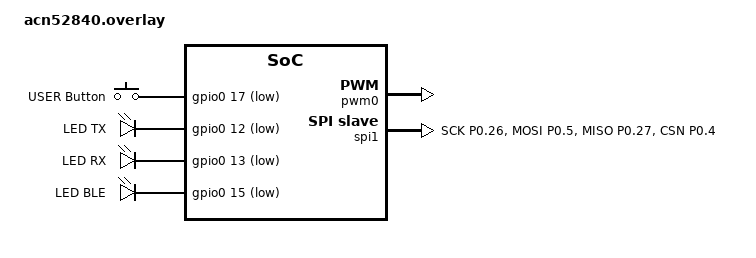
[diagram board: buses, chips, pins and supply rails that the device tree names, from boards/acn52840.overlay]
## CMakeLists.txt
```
# SPDX-License-Identifier: Apache-2.0

cmake_minimum_required(VERSION 3.20.0)

set(BOARD_ROOT ${CMAKE_CURRENT_SOURCE_DIR}/.)

find_package(Zephyr REQUIRED HINTS $ENV{ZEPHYR_BASE})
project(zephyr-ble-hci-coprocessor)

FILE(GLOB app_sources src/*.c)
target_sources(app PRIVATE ${app_sources})

zephyr_library_include_directories(${ZEPHYR_BASE}/samples/bluetooth)
```

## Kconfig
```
#
# Copyright (c) 2022 Lucas Dietrich <ld.adecy@gmail.com>
#
# SPDX-License-Identifier: Apache-2.0
#

config APP_GPIO_3V3
	bool "GPIO 3V3"
	default y
    depends on SOC_FAMILY_NRF
	help
        Set GPIO voltage to 3.3V

source "Kconfig.zephyr"
```

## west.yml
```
# Copyright (c) 2020 Lucas Dietrich (ld.adecy@gmail.com)
# SPDX-License-Identifier: Apache-2.0

manifest:
  self:
    path: zephyr-ble-hci-coprocessor

  remotes:
    - name: zephyrproject-rtos
      url-base: https://github.com/zephyrproject-rtos
    - name: zephyrproject-rtos-fork
      url-base: https://github.com/lucasdietrich
      
  projects:
    - name: zephyr
      remote: zephyrproject-rtos
      revision: v3.4.0
      import: true
      
```

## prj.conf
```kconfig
CONFIG_GPIO=y
CONFIG_SPI=y
CONFIG_SPI_SLAVE=y
CONFIG_MAIN_STACK_SIZE=4096
CONFIG_BT=y
CONFIG_BT_HCI_RAW=y
CONFIG_BT_MAX_CONN=16
CONFIG_BT_TINYCRYPT_ECC=n
CONFIG_BT_BUF_ACL_RX_COUNT=32
CONFIG_BT_BUF_ACL_RX_SIZE=251
CONFIG_BT_HCI_RAW_RESERVE=1

# Workaround: Unable to allocate command buffer when using K_NO_WAIT since
# Host number of completed commands does not follow normal flow control.
CONFIG_BT_BUF_CMD_TX_COUNT=10

CONFIG_APP_GPIO_3V3=y

CONFIG_LOG=y

CONFIG_USE_SEGGER_RTT=y
CONFIG_LOG_BACKEND_RTT=y
CONFIG_SEGGER_RTT_BUFFER_SIZE_UP=4096
CONFIG_LOG_BACKEND_SHOW_COLOR=y

CONFIG_BT_DEBUG_LOG=n
CONFIG_BT_DEBUG_HCI_DRIVER=n
```

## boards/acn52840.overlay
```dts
/ {
	aliases {
		ble-led = &pwm_led2;
		ipc-rx-led = &pwm_led1;
		ipc-tx-led = &pwm_led0;
		user-button = &button0;

		counter = &timer3;

		/* if prefer rtc2 */
		counter-alt = &rtc2;
	};

	buttons {
		compatible = "gpio-keys";
		button0: button {
			gpios = <&gpio0 17 (GPIO_PULL_UP | GPIO_ACTIVE_LOW)>;
			label = "USER Button";
		};
	};

	leds {
		led0 {
			gpios = <&gpio0 12 GPIO_ACTIVE_LOW>;
			label = "LED TX";
		};
		led1 {
			gpios = <&gpio0 13 GPIO_ACTIVE_LOW>;
			label = "LED RX";
		};
		led2 {
			gpios = <&gpio0 15 GPIO_ACTIVE_LOW>;
			label = "LED BLE";
		};
	};


    pwmleds {
        pwm_led0: pwm_led_tx {
            pwms = <&pwm0 12>;
        };
        pwm_led1: pwm_led_rx {
            pwms = <&pwm0 13>;
        };
        pwm_led2: pwm_led_ble {
            pwms = <&pwm0 15>;
        };
    };
};

&pwm0 {
    status = "okay";

    ch0-pin = <12>;
    ch0-inverted;

    ch1-pin = <13>;
    ch1-inverted;

    ch2-pin = <15>;
    ch2-inverted;
};

&pinctrl {
	spi1_default_alt: spi1_default_alt {
		group1 {
			psels = <NRF_PSEL(SPIS_SCK, 0, 26)>,
			        <NRF_PSEL(SPIS_MOSI, 0, 5)>,
			        <NRF_PSEL(SPIS_MISO, 0, 27)>,
			        <NRF_PSEL(SPIS_CSN, 0, 4)>;
		};
	};
};

&spi1 {
	compatible = "nordic,nrf-spis";
	status = "okay";
	def-char = <0x00>;
	pinctrl-0 = <&spi1_default_alt>;
	/delete-property/ pinctrl-1;
	pinctrl-names = "default";

	bt-hci@0 {
		compatible = "zephyr,bt-hci-spi-slave";
		reg = <0>;
		irq-gpios = <&gpio0 30 (GPIO_ACTIVE_HIGH | GPIO_PULL_DOWN)>;
	};
};

&uart1 {
	status = "disabled";
};
```

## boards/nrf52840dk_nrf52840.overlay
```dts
/*
 * Copyright (c) 2020 Nordic Semiconductor ASA
 *
 * SPDX-License-Identifier: Apache-2.0
 */

&pinctrl {
	spi1_default_alt: spi1_default_alt {
		group1 {
			psels = <NRF_PSEL(SPIS_SCK, 0, 26)>,
			        <NRF_PSEL(SPIS_MOSI, 0, 5)>,
			        <NRF_PSEL(SPIS_MISO, 0, 27)>,
			        <NRF_PSEL(SPIS_CSN, 0, 4)>;
		};
	};
};

&spi1 {
	compatible = "nordic,nrf-spis";
	status = "okay";
	def-char = <0x00>;
	pinctrl-0 = <&spi1_default_alt>;
	/delete-property/ pinctrl-1;
	pinctrl-names = "default";
	// csn-pin = <&gpio0 3 GPIO_ACTIVE_LOW>;

	bt-hci@0 {
		compatible = "zephyr,bt-hci-spi-slave";
		reg = <0>;
		irq-gpios = <&gpio0 30 (GPIO_ACTIVE_HIGH | GPIO_PULL_DOWN)>;
	};
};

&uart1 {
	status = "disabled";
};
```

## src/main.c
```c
/*
 * Copyright (c) 2017 Linaro Limited
 * Copyright (c) 2016 Nordic Semiconductor ASA
 * Copyright (c) 2015-2016 Intel Corporation
 * Copyright (c) 2022 Lucas Dietrich (ld.adecy@gmail.com)
 *
 * SPDX-License-Identifier: Apache-2.0
 */

#include <errno.h>
#include <stddef.h>
#include <stdio.h>

#include <zephyr/kernel.h>
#include <zephyr/sys/byteorder.h>
#include <zephyr/logging/log.h>
#include <zephyr/debug/stack.h>

#include <zephyr/device.h>
#include <zephyr/init.h>
#include <zephyr/drivers/gpio.h>
#include <zephyr/drivers/spi.h>

#include <zephyr/net/buf.h>
#include <zephyr/bluetooth/bluetooth.h>
#include <zephyr/bluetooth/l2cap.h>
#include <zephyr/bluetooth/hci.h>
#include <zephyr/bluetooth/buf.h>
#include <zephyr/bluetooth/hci_raw.h>

#if defined(CONFIG_APP_GPIO_3V3)
#include <hal/nrf_power.h>
#endif /* CONFIG_APP_GPIO_3V3 */

#define LOG_MODULE_NAME hci_spi
LOG_MODULE_REGISTER(LOG_MODULE_NAME, LOG_LEVEL_DBG);

#define HCI_CMD                0x01
#define HCI_ACL                0x02
#define HCI_SCO                0x03
#define HCI_EVT                0x04

/* Special Values */
#define SPI_WRITE              0x0A
#define SPI_READ               0x0B
#define READY_NOW              0x02
#define SANITY_CHECK           0x02

/* Offsets */
#define STATUS_HEADER_READY    0
#define STATUS_HEADER_TOREAD   3

#define PACKET_TYPE            0
#define EVT_BLUE_INITIALIZED   0x01

/* Needs to be aligned with the SPI master buffer size */
#define SPI_MAX_MSG_LEN        255

static uint8_t rxmsg[SPI_MAX_MSG_LEN];
static struct spi_buf rx;
const static struct spi_buf_set rx_bufs = {
	.buffers = &rx,
	.count = 1,
};

static uint8_t txmsg[SPI_MAX_MSG_LEN];
static struct spi_buf tx;
const static struct spi_buf_set tx_bufs = {
	.buffers = &tx,
	.count = 1,
};

/* HCI buffer pools */
#define CMD_BUF_SIZE BT_BUF_RX_SIZE

/*
 * This finds an arbitrary node with compatible
 * "zephyr,bt-hci-spi-slave". There should just be one in the
 * devicetree.
 *
 * If for some reason you have more than one of these in your
 * devicetree, replace this macro definition to pick one, e.g. using
 * DT_NODELABEL().
 */
#define HCI_SPI_NODE           DT_COMPAT_GET_ANY_STATUS_OKAY(zephyr_bt_hci_spi_slave)

/*
 * This is the SPI bus controller device used to exchange data with
 * the SPI-based BT controller.
 */
static const struct device *const spi_hci_dev = DEVICE_DT_GET(DT_BUS(HCI_SPI_NODE));
static struct spi_config spi_cfg = {
	.operation = SPI_WORD_SET(8) | SPI_OP_MODE_SLAVE,
};

/*
 * The GPIO used to send interrupts to the host,
 * configured in the 'irq-gpios' property in HCI_SPI_NODE.
 */
static const struct gpio_dt_spec irq = GPIO_DT_SPEC_GET(HCI_SPI_NODE, irq_gpios);

static K_THREAD_STACK_DEFINE(bt_tx_thread_stack, CONFIG_BT_HCI_TX_STACK_SIZE);
static struct k_thread bt_tx_thread_data;

static K_SEM_DEFINE(sem_spi_rx, 0, 1);
static K_SEM_DEFINE(sem_spi_tx, 0, 1);

static inline int spi_send(struct net_buf *buf)
{
	uint8_t header_master[5] = { 0 };
	uint8_t header_slave[5] = { READY_NOW, SANITY_CHECK,
				    0x00, 0x00, 0x00 };
	int ret;

	LOG_DBG("buf %p type %u len %u", buf, bt_buf_get_type(buf), buf->len);

	switch (bt_buf_get_type(buf)) {
	case BT_BUF_ACL_IN:
		net_buf_push_u8(buf, HCI_ACL);
		break;
	case BT_BUF_EVT:
		net_buf_push_u8(buf, HCI_EVT);
		break;
	default:
		LOG_ERR("Unknown type %u", bt_buf_get_type(buf));
		net_buf_unref(buf);
		return -EINVAL;
	}

	if (buf->len > SPI_MAX_MSG_LEN) {
		LOG_ERR("TX message too long");
		net_buf_unref(buf);
		return -EINVAL;
	}
	header_slave[STATUS_HEADER_TOREAD] = buf->len;

	gpio_pin_set(irq.port, irq.pin, 1);

	/* Coordinate transfer lock with the spi rx thread */
	k_sem_take(&sem_spi_tx, K_FOREVER);

	tx.buf = header_slave;
	tx.len = 5;
	rx.buf = header_master;
	rx.len = 5;
	do {
		ret = spi_transceive(spi_hci_dev, &spi_cfg, &tx_bufs, &rx_bufs);
		if (ret < 0) {
			LOG_ERR("SPI transceive error: %d", ret);
		}
	} while (header_master[STATUS_HEADER_READY] != SPI_READ);

	tx.buf = buf->data;
	tx.len = buf->len;

	ret = spi_write(spi_hci_dev, &spi_cfg, &tx_bufs);
	if (ret < 0) {
		LOG_ERR("SPI transceive error: %d", ret);
	}
	net_buf_unref(buf);

	gpio_pin_set(irq.port, irq.pin, 0);
	k_sem_give(&sem_spi_rx);

	return 0;
}

static void bt_tx_thread(void *p1, void *p2, void *p3)
{
	uint8_t header_master[5];
	uint8_t header_slave[5] = { READY_NOW, SANITY_CHECK,
				    0x00, 0x00, 0x00 };
	struct net_buf *buf = NULL;

	union {
		struct bt_hci_cmd_hdr *cmd_hdr;
		struct bt_hci_acl_hdr *acl_hdr;
	} hci_hdr;
	hci_hdr.cmd_hdr = (struct bt_hci_cmd_hdr *)&rxmsg[1];
	int ret;

	ARG_UNUSED(p1);
	ARG_UNUSED(p2);
	ARG_UNUSED(p3);

	(void)memset(txmsg, 0xFF, SPI_MAX_MSG_LEN);

	while (1) {
		tx.buf = header_slave;
		tx.len = 5;
		rx.buf = header_master;
		rx.len = 5;

		do {
			ret = spi_transceive(spi_hci_dev, &spi_cfg,
					     &tx_bufs, &rx_bufs);
			if (ret < 0) {
				LOG_ERR("SPI transceive error: %d", ret);
			}
		} while ((header_master[STATUS_HEADER_READY] != SPI_READ) &&
			 (header_master[STATUS_HEADER_READY] != SPI_WRITE));

		if (header_master[STATUS_HEADER_READY] == SPI_READ) {
			/* Unblock the spi tx thread and wait for it */
			k_sem_give(&sem_spi_tx);
			k_sem_take(&sem_spi_rx, K_FOREVER);
			continue;
		}

		tx.buf = txmsg;
		tx.len = SPI_MAX_MSG_LEN;
		rx.buf = rxmsg;
		rx.len = SPI_MAX_MSG_LEN;

		/* Receiving data from the SPI Host */
		ret = spi_transceive(spi_hci_dev, &spi_cfg,
				     &tx_bufs, &rx_bufs);
		if (ret < 0) {
			LOG_ERR("SPI transceive error: %d", ret);
			continue;
		}

		switch (rxmsg[PACKET_TYPE]) {
		case HCI_CMD:
			buf = bt_buf_get_tx(BT_BUF_CMD, K_NO_WAIT,
					    hci_hdr.cmd_hdr,
					    sizeof(*hci_hdr.cmd_hdr));
			if (buf) {
				net_buf_add_mem(buf, &rxmsg[4],
						hci_hdr.cmd_hdr->param_len);
			} else {
				LOG_ERR("No available command buffers!");
				continue;
			}
			break;
		case HCI_ACL:
			buf = bt_buf_get_tx(BT_BUF_ACL_OUT, K_NO_WAIT,
					    hci_hdr.acl_hdr,
					    sizeof(*hci_hdr.acl_hdr));
			if (buf) {
				net_buf_add_mem(buf, &rxmsg[5],
						sys_le16_to_cpu(hci_hdr.acl_hdr->len));
			} else {
				LOG_ERR("No available ACL buffers!");
				continue;
			}
			break;
		default:
			LOG_ERR("Unknown BT HCI buf type");
			continue;
		}

		LOG_DBG("buf %p type %u len %u",
			buf, bt_buf_get_type(buf), buf->len);

		ret = bt_send(buf);
		if (ret) {
			LOG_ERR("Unable to send (ret %d)", ret);
			net_buf_unref(buf);
		}

		/* Make sure other threads get a chance to run */
		k_yield();
	}
}

static int hci_spi_init(const struct device *unused)
{
	ARG_UNUSED(unused);

	LOG_DBG("");

	if (!device_is_ready(spi_hci_dev)) {
		LOG_ERR("SPI bus %s is not ready", spi_hci_dev->name);
		return -EINVAL;
	}

	if (!device_is_ready(irq.port)) {
		LOG_ERR("IRQ GPIO port %s is not ready", irq.port->name);
		return -EINVAL;
	}
	gpio_pin_configure_dt(&irq, GPIO_OUTPUT_INACTIVE);

	return 0;
}

SYS_INIT(hci_spi_init, APPLICATION, CONFIG_KERNEL_INIT_PRIORITY_DEVICE);

void main(void)
{
#if defined(CONFIG_APP_GPIO_3V3)
	NRF_UICR->REGOUT0 = UICR_REGOUT0_VOUT_3V3;
#endif
	
	static K_FIFO_DEFINE(rx_queue);
	struct bt_hci_evt_hdr *evt_hdr;
	struct net_buf *buf;
	k_tid_t tx_id;
	int err;

	LOG_DBG("Start");

	err = bt_enable_raw(&rx_queue);
	if (err) {
		LOG_ERR("bt_enable_raw: %d; aborting", err);
		return;
	}

	/* Spawn the TX thread, which feeds cmds and data to the controller */
	tx_id = k_thread_create(&bt_tx_thread_data, bt_tx_thread_stack,
				K_THREAD_STACK_SIZEOF(bt_tx_thread_stack),
				bt_tx_thread, NULL, NULL, NULL, K_PRIO_COOP(7),
				0, K_NO_WAIT);
	k_thread_name_set(&bt_tx_thread_data, "bt_tx_thread");

	/* Send a vendor event to announce that the slave is initialized */
	buf = bt_buf_get_rx(BT_BUF_EVT, K_FOREVER);
	evt_hdr = net_buf_add(buf, sizeof(*evt_hdr));
	evt_hdr->evt = BT_HCI_EVT_VENDOR;
	evt_hdr->len = 2U;
	net_buf_add_le16(buf, EVT_BLUE_INITIALIZED);
	err = spi_send(buf);
	if (err) {
		LOG_ERR("can't send initialization event; aborting");
		k_thread_abort(tx_id);
		return;
	}

	while (1) {
		buf = net_buf_get(&rx_queue, K_FOREVER);
		err = spi_send(buf);
		if (err) {
			LOG_ERR("Failed to send");
		}
	}
}
```
